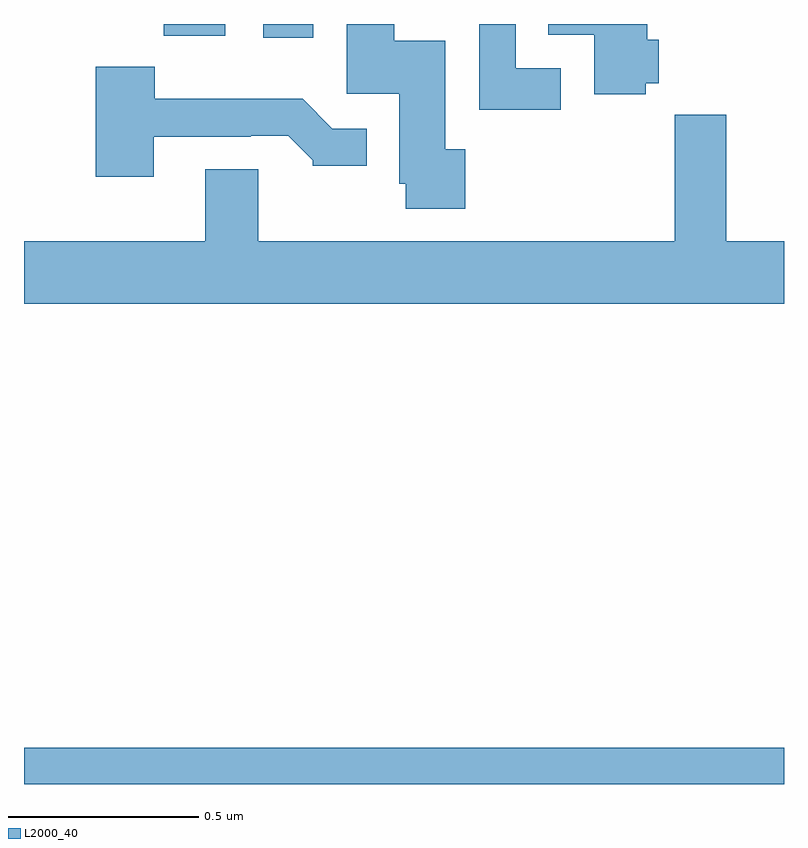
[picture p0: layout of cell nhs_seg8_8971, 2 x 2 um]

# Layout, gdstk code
import gdstk
lib = gdstk.Library(unit=1e-6, precision=1e-09)
def R(c, l, rs):  # rectangles x0, y0, x1, y1
    for r in rs: c.add(gdstk.rectangle(r[:2], r[2:], *l))
def P(c, l, *ps):  # polygons
    for p in ps: c.add(gdstk.Polygon(p, *l))
L2000_40 = (2000, 40)

nhs_seg8_8971 = lib.new_cell('nhs_seg8_8971')
R(nhs_seg8_8971, L2000_40, [(230,1117.9,232,1117.996), (230.63,1119.864,230.761,1119.9), (230.368,1119.869,230.53,1119.9)])
P(nhs_seg8_8971, L2000_40, [(231.161,1119.57),(231.109,1119.57),(231.109,1119.856),(230.974,1119.856),(230.974,1119.9),(230.849,1119.9),(230.849,1119.717),(230.987,1119.717),(230.987,1119.48),(231.004,1119.48),(231.004,1119.414),(231.161,1119.414)],
  [(231.636,1119.744),(231.671,1119.744),(231.671,1119.858),(231.64,1119.858),(231.64,1119.9),(231.379,1119.9),(231.379,1119.872),(231.5,1119.872),(231.5,1119.715),(231.636,1119.715)],
  [(231.412,1119.783),(231.294,1119.783),(231.294,1119.9),(231.198,1119.9),(231.198,1119.675),(231.412,1119.675)],
  [(230.341,1119.603),(230.597,1119.603),(230.597,1119.606),(230.696,1119.606),(230.76,1119.542),(230.76,1119.527),(230.902,1119.527),(230.902,1119.624),(230.811,1119.624),(230.733,1119.703),(230.344,1119.703),(230.344,1119.787),(230.189,1119.787),(230.189,1119.498),(230.341,1119.498)],
  [(232,1119.328),(231.848,1119.328),(231.848,1119.661),(231.712,1119.661),(231.712,1119.328),(230.617,1119.328),(230.617,1119.518),(230.477,1119.518),(230.477,1119.328),(230,1119.328),(230,1119.164),(232,1119.164)])

lib.write_gds('nhs_seg8_8971.gds')
